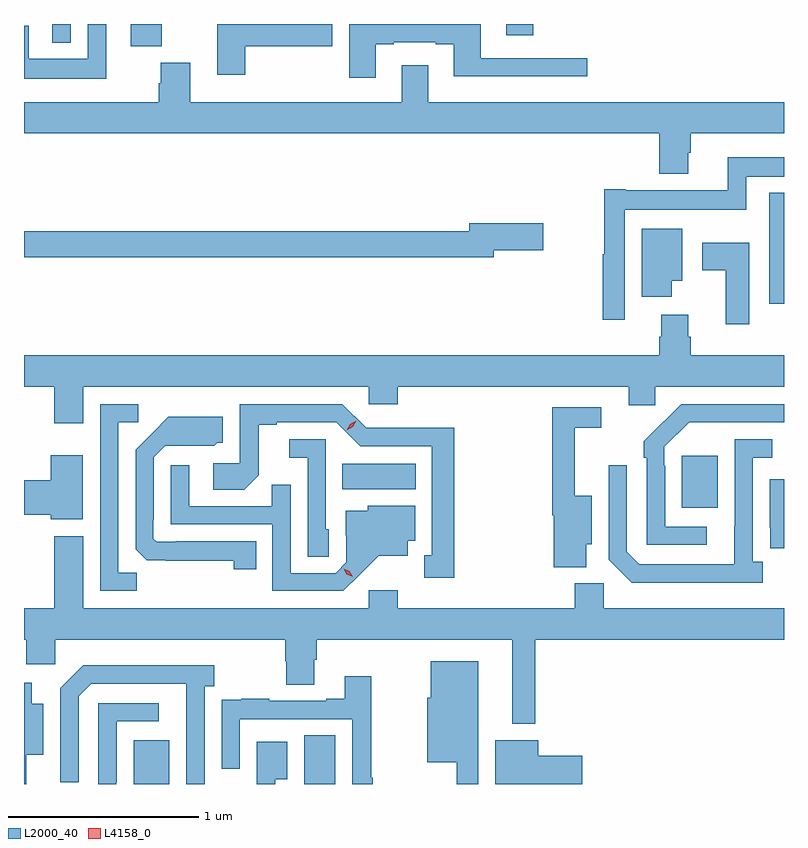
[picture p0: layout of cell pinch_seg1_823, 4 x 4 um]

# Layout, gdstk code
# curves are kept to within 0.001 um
import gdstk
lib = gdstk.Library(unit=1e-6, precision=1e-09)
def R(c, l, rs):  # rectangles x0, y0, x1, y1
    for r in rs: c.add(gdstk.rectangle(r[:2], r[2:], *l))
def P(c, l, *ps):  # polygons
    for p in ps: c.add(gdstk.Polygon(p, *l))
L2000_40 = (2000, 40)
L4158_0 = (4158, 0)

pinch_seg1_823 = lib.new_cell('pinch_seg1_823')
R(pinch_seg1_823, L2000_40, [(483.923,577.612,484.111,577.843), (484.82,577.612,484.984,577.868), (486.809,579.065,486.997,579.34), (485.02,579.164,485.407,579.298), (487.269,580.14,487.346,580.723), (483.908,581.494,484.072,581.612), (483.495,581.513,483.591,581.612), (485.885,581.553,486.025,581.612)])
P(pinch_seg1_823, L2000_40, [(484.511,581.494),(484.969,581.494),(484.969,581.612),(484.364,581.612),(484.364,581.346),(484.511,581.346)],
  [(485.197,581.505),(485.293,581.505),(485.293,581.517),(485.513,581.517),(485.513,581.505),(485.609,581.505),(485.609,581.336),(486.31,581.336),(486.31,581.433),(485.749,581.433),(485.749,581.612),(485.057,581.612),(485.057,581.328),(485.197,581.328)],
  [(483.778,581.612),(483.681,581.612),(483.681,581.428),(483.372,581.428),(483.372,581.602),(483.346,581.602),(483.346,581.324),(483.778,581.324)],
  [(486.841,580.935),(486.854,580.935),(486.854,581.036),(487.346,581.036),(487.346,581.2),(485.473,581.2),(485.473,581.395),(485.333,581.395),(485.333,581.2),(484.22,581.2),(484.22,581.409),(484.067,581.409),(484.067,581.3),(484.055,581.3),(484.055,581.2),(483.346,581.2),(483.346,581.036),(486.689,581.036),(486.689,580.823),(486.841,580.823)],
  [(486.507,580.634),(487.146,580.634),(487.146,580.808),(487.346,580.808),(487.346,580.912),(487.049,580.912),(487.049,580.738),(486.514,580.738),(486.514,580.741),(486.399,580.741),(486.399,580.401),(486.391,580.401),(486.391,580.056),(486.507,580.056)],
  [(485.818,580.421),(486.079,580.421),(486.079,580.563),(485.69,580.563),(485.69,580.52),(483.346,580.52),(483.346,580.384),(485.818,580.384)],
  [(486.754,580.262),(486.811,580.262),(486.811,580.534),(486.596,580.534),(486.596,580.176),(486.754,580.176)],
  [(487.162,580.462),(486.915,580.462),(486.915,580.315),(487.04,580.315),(487.04,580.032),(487.162,580.032)],
  [(483.658,579.704),(485.16,579.704),(485.16,579.611),(485.312,579.611),(485.312,579.704),(486.53,579.704),(486.53,579.606),(486.669,579.606),(486.669,579.704),(487.346,579.704),(487.346,579.868),(486.854,579.868),(486.854,579.966),(486.841,579.966),(486.841,580.081),(486.701,580.081),(486.701,579.966),(486.689,579.966),(486.689,579.868),(483.346,579.868),(483.346,579.704),(483.506,579.704),(483.506,579.51),(483.658,579.51)],
  [(483.939,578.723),(483.843,578.723),(483.843,579.516),(483.946,579.516),(483.946,579.612),(483.747,579.612),(483.747,578.628),(483.939,578.628)],
  [(485.611,579.488),(485.37,579.488),(485.37,579.486),(485.148,579.486),(485.022,579.612),(484.482,579.612),(484.482,579.3),(484.341,579.3),(484.341,579.16),(484.505,579.16),(484.581,579.236),(484.581,579.504),(484.675,579.504),(484.675,579.516),(484.989,579.516),(485.115,579.39),(485.492,579.39),(485.492,578.817),(485.453,578.817),(485.453,578.697),(485.611,578.697)],
  [(486.94,578.967),(486.72,578.967),(486.72,579.287),(486.717,579.287),(486.717,579.387),(486.846,579.516),(487.346,579.516),(487.346,579.612),(486.806,579.612),(486.609,579.417),(486.609,579.329),(486.624,579.329),(486.624,578.871),(486.94,578.871)],
  [(486.304,578.873),(486.334,578.873),(486.334,579.13),(486.245,579.13),(486.245,579.486),(486.385,579.486),(486.385,579.594),(486.127,579.594),(486.127,579.026),(486.134,579.026),(486.134,578.754),(486.304,578.754)],
  [(484.568,578.889),(484.144,578.889),(484.144,578.886),(484.044,578.886),(484.026,578.904),(484.026,579.004),(484.029,579.004),(484.029,579.333),(484.089,579.393),(484.346,579.392),(484.362,579.408),(484.393,579.408),(484.393,579.544),(484.105,579.544),(483.933,579.37),(483.933,578.848),(483.992,578.789),(484.45,578.788),(484.45,578.742),(484.568,578.742)],
  [(487.234,578.782),(487.182,578.782),(487.182,579.33),(487.285,579.33),(487.285,579.426),(487.086,579.426),(487.085,578.769),(486.585,578.769),(486.519,578.835),(486.519,579.289),(486.423,579.289),(486.423,578.793),(486.544,578.672),(487.234,578.672)],
  [(484.95,578.952),(484.935,578.952),(484.935,579.426),(484.743,579.426),(484.743,579.329),(484.839,579.329),(484.839,578.809),(484.95,578.809)],
  [(483.655,579.343),(483.488,579.343),(483.488,579.212),(483.346,579.212),(483.346,579.029),(483.488,579.029),(483.488,579.005),(483.655,579.005)],
  [(485.11,578.711),(485.213,578.813),(485.365,578.813),(485.365,578.892),(485.404,578.892),(485.404,579.076),(485.154,579.076),(485.154,579.049),(485.039,579.049),(485.039,578.92),(485.043,578.92),(485.043,578.778),(484.986,578.721),(484.749,578.721),(484.749,579.188),(484.651,579.188),(484.651,579.075),(484.215,579.075),(484.215,579.289),(484.119,579.289),(484.119,578.979),(484.653,578.979),(484.653,578.628),(485.026,578.628)],
  [(487.346,579.217),(487.272,579.217),(487.272,578.962),(487.273,578.962),(487.273,578.853),(487.346,578.853)],
  [(486.037,578.372),(487.346,578.372),(487.346,578.536),(486.396,578.536),(486.396,578.668),(486.245,578.668),(486.245,578.536),(485.312,578.536),(485.312,578.632),(485.16,578.632),(485.16,578.536),(483.658,578.536),(483.658,578.917),(483.506,578.917),(483.506,578.536),(483.346,578.536),(483.346,578.372),(483.359,578.372),(483.359,578.241),(483.51,578.241),(483.51,578.372),(484.721,578.372),(484.721,578.259),(484.726,578.259),(484.726,578.134),(484.873,578.134),(484.873,578.266),(484.886,578.266),(484.886,578.372),(485.915,578.372),(485.915,577.928),(486.037,577.928)],
  [(485.737,578.257),(485.486,578.257),(485.486,578.067),(485.468,578.067),(485.468,577.727),(485.623,577.727),(485.623,577.612),(485.737,577.612)],
  [(484.296,578.126),(484.348,578.126),(484.348,578.236),(483.658,578.236),(483.537,578.115),(483.537,577.62),(483.633,577.62),(483.633,578.073),(483.699,578.139),(484.199,578.139),(484.2,577.612),(484.296,577.612)],
  [(485.182,577.644),(485.174,577.644),(485.174,578.179),(485.033,578.179),(485.033,578.062),(484.937,578.062),(484.937,578.049),(484.637,578.049),(484.637,578.062),(484.489,578.062),(484.489,578.055),(484.387,578.055),(484.387,577.946),(484.386,577.946),(484.386,577.692),(484.482,577.692),(484.482,577.953),(485.073,577.953),(485.073,577.612),(485.182,577.612)],
  [(483.359,577.766),(483.448,577.766),(483.448,578.035),(483.388,578.035),(483.388,578.146),(483.346,578.146),(483.346,577.612),(483.359,577.612)],
  [(483.831,577.621),(483.834,577.621),(483.834,577.941),(484.054,577.941),(484.054,578.037),(483.738,578.037),(483.738,577.612),(483.831,577.612)],
  [(486.283,577.76),(486.052,577.76),(486.052,577.843),(485.825,577.843),(485.825,577.612),(486.283,577.612)],
  [(484.669,577.637),(484.732,577.637),(484.732,577.834),(484.571,577.834),(484.571,577.612),(484.669,577.612)])
P(pinch_seg1_823, L4158_0, [(485.045,579.473),(485.045,579.474),(485.063,579.506),(485.095,579.525),(485.095,579.525),(485.095,579.524),(485.077,579.492),(485.045,579.473)],
  [(485.076,578.702),(485.045,578.717),(485.028,578.746),(485.028,578.746),(485.028,578.746),(485.059,578.731),(485.076,578.702),(485.076,578.702)])

lib.write_gds('pinch_seg1_823.gds')
